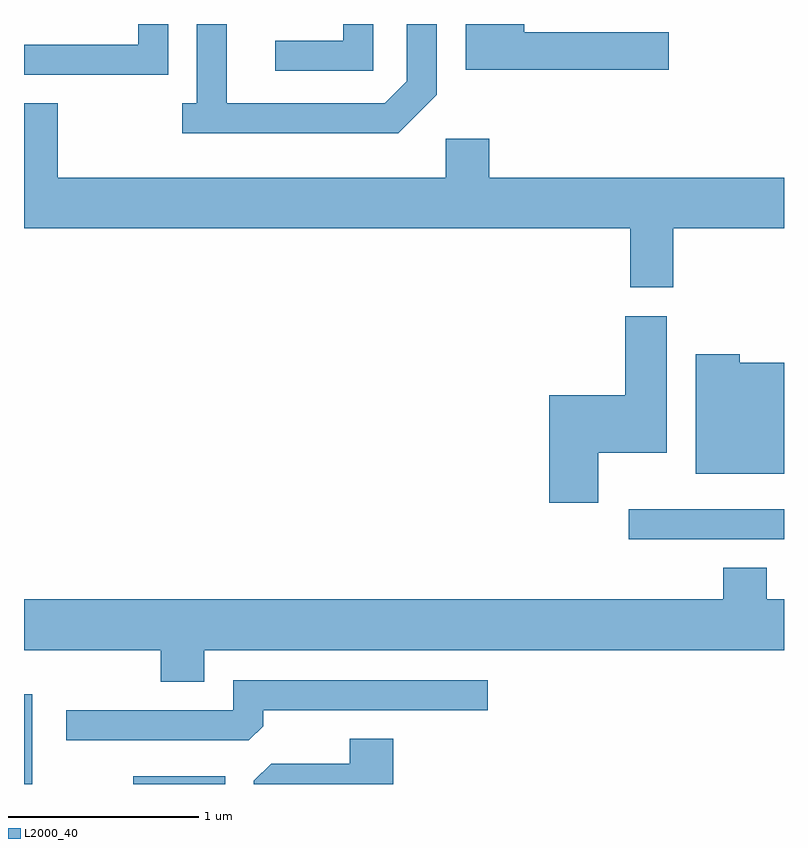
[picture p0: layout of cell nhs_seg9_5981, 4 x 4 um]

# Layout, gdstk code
import gdstk
lib = gdstk.Library(unit=1e-6, precision=1e-09)
def R(c, l, rs):  # rectangles x0, y0, x1, y1
    for r in rs: c.add(gdstk.rectangle(r[:2], r[2:], *l))
def P(c, l, *ps):  # polygons
    for p in ps: c.add(gdstk.Polygon(p, *l))
L2000_40 = (2000, 40)

nhs_seg9_5981 = lib.new_cell('nhs_seg9_5981')
R(nhs_seg9_5981, L2000_40, [(361.611,2004.432,361.654,2004.904), (362.186,2004.432,362.669,2004.474), (364.793,2005.721,365.611,2005.879)])
P(nhs_seg9_5981, L2000_40, [(363.784,2008.059),(363.784,2008.432),(363.626,2008.432),(363.626,2008.132),(363.509,2008.014),(362.679,2008.014),(362.679,2008.432),(362.521,2008.432),(362.521,2008.014),(362.443,2008.014),(362.443,2007.856),(363.582,2007.856)],
  [(363.449,2008.432),(363.291,2008.432),(363.291,2008.344),(362.933,2008.344),(362.933,2008.186),(363.449,2008.186)],
  [(365.004,2008.389),(364.244,2008.389),(364.244,2008.432),(363.936,2008.432),(363.936,2008.191),(365.004,2008.191)],
  [(362.369,2008.432),(362.211,2008.432),(362.211,2008.324),(361.611,2008.324),(361.611,2008.166),(362.369,2008.166)],
  [(365.029,2007.356),(365.611,2007.356),(365.611,2007.624),(364.059,2007.624),(364.059,2007.829),(363.831,2007.829),(363.831,2007.624),(361.789,2007.624),(361.789,2008.014),(361.611,2008.014),(361.611,2007.356),(364.801,2007.356),(364.801,2007.046),(365.029,2007.046)],
  [(364.634,2006.176),(364.994,2006.176),(364.994,2006.894),(364.776,2006.894),(364.776,2006.479),(364.376,2006.479),(364.376,2005.911),(364.634,2005.911)],
  [(365.611,2006.649),(365.379,2006.649),(365.379,2006.694),(365.146,2006.694),(365.146,2006.066),(365.611,2006.066)],
  [(362.559,2005.136),(365.611,2005.136),(365.611,2005.404),(365.519,2005.404),(365.519,2005.569),(365.291,2005.569),(365.291,2005.404),(361.611,2005.404),(361.611,2005.136),(362.331,2005.136),(362.331,2004.971),(362.559,2004.971)],
  [(362.869,2004.737),(362.869,2004.821),(364.053,2004.821),(364.053,2004.979),(362.711,2004.979),(362.711,2004.819),(361.833,2004.819),(361.833,2004.661),(362.794,2004.661)],
  [(363.554,2004.669),(363.326,2004.669),(363.326,2004.539),(362.912,2004.539),(362.821,2004.449),(362.821,2004.432),(363.554,2004.432)])

lib.write_gds('nhs_seg9_5981.gds')
